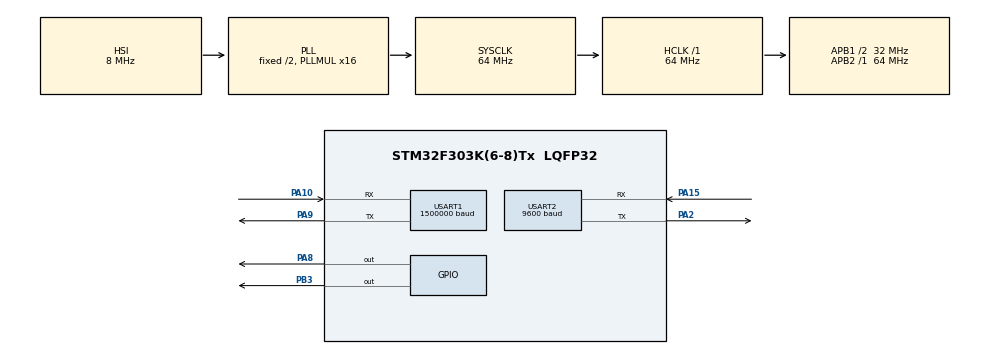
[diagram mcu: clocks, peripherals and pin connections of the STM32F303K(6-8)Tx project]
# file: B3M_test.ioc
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Mcu.Family=STM32F3
Mcu.Name=STM32F303K(6-8)Tx
Mcu.Package=LQFP32
NVIC.PriorityGroup=NVIC_PRIORITYGROUP_4
PA10.Mode=Asynchronous
PA10.Signal=USART1_RX
PA13.Mode=Serial_Wire
PA13.Signal=SYS_JTMS-SWDIO
PA14.Mode=Serial_Wire
PA14.Signal=SYS_JTCK-SWCLK
PA15.Mode=Asynchronous
PA15.Signal=USART2_RX
PA2.Mode=Asynchronous
PA2.Signal=USART2_TX
PA8.Signal=GPIO_Output
PA9.Mode=Asynchronous
PA9.Signal=USART1_TX
PB3.Signal=GPIO_Output
PF0\ /\ OSC_IN.Mode=HSE-External-Clock-Source
PF0\ /\ OSC_IN.Signal=RCC_OSC_IN
ProjectManager.HeapSize=0x200
ProjectManager.StackSize=0x400
ProjectManager.TargetToolchain=STM32CubeIDE
RCC.AHBFreq_Value=64000000
RCC.APB1CLKDivider=RCC_HCLK_DIV2
RCC.APB1Freq_Value=32000000
RCC.APB1TimFreq_Value=64000000
RCC.APB2Freq_Value=64000000
RCC.APB2TimFreq_Value=64000000
RCC.CortexFreq_Value=64000000
RCC.HCLKFreq_Value=64000000
RCC.HSE_VALUE=8000000
RCC.HSI_VALUE=8000000
RCC.PLLMUL=RCC_PLL_MUL16
RCC.SYSCLKFreq_VALUE=64000000
RCC.SYSCLKSourceVirtual=RCC_SYSCLKSOURCE_PLLCLK
USART1.BaudRate=1500000
USART1.VirtualMode-Asynchronous=VM_ASYNC
USART2.BaudRate=9600
USART2.VirtualMode-Asynchronous=VM_ASYNC
board=custom

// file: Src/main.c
/* USER CODE BEGIN Header */
/**
  ******************************************************************************
  * @file           : main.c
  * @brief          : Main program body
  ******************************************************************************
  * @attention
  *
  * <h2><center>&copy; Copyright (c) 2020 STMicroelectronics.
  * All rights reserved.</center></h2>
  *
  * This software component is licensed by ST under BSD 3-Clause license,
  * the "License"; You may not use this file except in compliance with the
  * License. You may obtain a copy of the License at:
  *                        opensource.org/licenses/BSD-3-Clause
  *
  ******************************************************************************
  */
/* USER CODE END Header */

#include "main.h"

UART_HandleTypeDef huart1;
UART_HandleTypeDef huart2;

void SystemClock_Config(void);
static void MX_GPIO_Init(void);
static void MX_USART1_UART_Init(void);
static void MX_USART2_UART_Init(void);

int main(void)
{

  /* MCU Configuration--------------------------------------------------------*/

  /* Reset of all peripherals, Initializes the Flash interface and the Systick. */
  HAL_Init();

  /* Configure the system clock */
  SystemClock_Config();

  /* Initialize all configured peripherals */
  MX_GPIO_Init();
  MX_USART1_UART_Init();
  MX_USART2_UART_Init();
  /* USER CODE BEGIN 2 */

  uint8_t txdata[9] = {0};

    void pos(unsigned char id,short deg,unsigned short time)
  {
      unsigned char deg_l = (unsigned char)(deg)&0x00FF;
      unsigned char deg_h = (unsigned char)(deg>>8)&0x00FF;
      unsigned char time_l = (unsigned char)(time)&0x00FF;
      unsigned char time_h = (unsigned char)(time>>8)&0x00FF;
      unsigned char sum = (0x09+0x06+id+deg_l+deg_h+time_l+time_h)&0x00FF;

      HAL_GPIO_WritePin(GPIOA, GPIO_PIN_8, 1);

      txdata[0]=0x09;   //1 SIZE
      txdata[1]=0x06;   //2 COMMAND
      txdata[2]=0x00;   //3 OPTION
      txdata[3]=id;     //4 ID
      txdata[4]=deg_l;  //5 POS_L
      txdata[5]=deg_h;  //6 POS_H
      txdata[6]=time_l; //7 TIME_L
      txdata[7]=time_h; //8 TIME_H
      txdata[8]=sum;    //9 SUM

  	  HAL_UART_Transmit(&huart1, txdata, 9, 0xFFFF);
      HAL_Delay(0.03);
      HAL_GPIO_WritePin(GPIOA, GPIO_PIN_8, 0);
  }
    void speed(unsigned char id,short speed)
    {
        unsigned char speed_l = (unsigned char)(speed)&0x00FF;
        unsigned char speed_h = (unsigned char)(speed>>8)&0x00FF;
        unsigned char sum = (0x09+0x04+0x00+id+speed_l+speed_h+0x30+0x01)&0x00FF;

        HAL_GPIO_WritePin(GPIOA, GPIO_PIN_8, 1);

        txdata[0]=0x09;//SIZE
        txdata[1]=0x04;//COMMAND
        txdata[2]=0x00;//OPTION
        txdata[3]=id;//ID
        txdata[4]=speed_l;//SPEED_LOWBYTE
        txdata[5]=speed_h;//SPEED_HIGHBYTE
        txdata[6]=0x30;//ADRESS(SPEED 0x03)
        txdata[7]=0x01;//COUNT
        txdata[8]=sum;//SUM
    	HAL_UART_Transmit(&huart1, txdata, 9, 0xFFFF);
        HAL_Delay(0.03);
        HAL_GPIO_WritePin(GPIOA, GPIO_PIN_8, 0);
    }

    void write(unsigned char id,unsigned char data,unsigned char adress)
    {
        unsigned char sum = (0x08+0x04+0x00+id+data+adress+0x01)&0x00FF;
       HAL_GPIO_WritePin(GPIOA, GPIO_PIN_8, 1);
       txdata[0]=0x08;   //1 SIZE
       txdata[1]=0x04;   //2 COMMAND
       txdata[2]=0x00;   //3 OPTION
       txdata[3]=id;     //4 ID
       txdata[4]=data;  //DATA
       txdata[5]=adress;  //ADRESS
       txdata[6]=0x01; //COUNT
       txdata[7]=sum;    //9 SUM
       HAL_UART_Transmit(&huart1, txdata, 8, 0xFFFF);
       HAL_Delay(0.03);
       HAL_GPIO_WritePin(GPIOA, GPIO_PIN_8, 0);

    }

	  write(0xFF,0x00,0x28);
	  write(0xFF,0x01,0x29);

  /* USER CODE END 2 */

  /* Infinite loop */
  while (1)
  {

    /* USER CODE BEGIN 3 */

	  	  write(0xFF,0x00,0x28);
	  	  HAL_GPIO_WritePin(GPIOB, GPIO_PIN_3, 1);
	  	  HAL_Delay(1000);
	  	  write(0xFF,0x01,0x29);
	  	  HAL_GPIO_WritePin(GPIOB, GPIO_PIN_3, 0);
	  	  HAL_Delay(1000);

	  	//pos test
	  	  HAL_GPIO_WritePin(GPIOB, GPIO_PIN_3, 1);
	  	  pos(0xFF,6000,1000);
	  	  HAL_Delay(1000);

	  	  HAL_GPIO_WritePin(GPIOB, GPIO_PIN_3, 0);
	  	  pos(0xFF,0,1000);
	  	  HAL_Delay(1000);

	  	//speed test
	  	  write(0xFF,0x04,0x28);
	  	  speed(0xFF,15000);
	  	  HAL_Delay(10000);

  }
  /* USER CODE END 3 */
}

void SystemClock_Config(void)
{
  RCC_OscInitTypeDef RCC_OscInitStruct = {0};
  RCC_ClkInitTypeDef RCC_ClkInitStruct = {0};
  RCC_PeriphCLKInitTypeDef PeriphClkInit = {0};

  /** Initializes the CPU, AHB and APB busses clocks
  */
  RCC_OscInitStruct.OscillatorType = RCC_OSCILLATORTYPE_HSI;
  RCC_OscInitStruct.HSIState = RCC_HSI_ON;
  RCC_OscInitStruct.HSICalibrationValue = RCC_HSICALIBRATION_DEFAULT;
  RCC_OscInitStruct.PLL.PLLState = RCC_PLL_ON;
  RCC_OscInitStruct.PLL.PLLSource = RCC_PLLSOURCE_HSI;
  RCC_OscInitStruct.PLL.PLLMUL = RCC_PLL_MUL16;
  if (HAL_RCC_OscConfig(&RCC_OscInitStruct) != HAL_OK)
  {
    Error_Handler();
  }
  /** Initializes the CPU, AHB and APB busses clocks
  */
  RCC_ClkInitStruct.ClockType = RCC_CLOCKTYPE_HCLK|RCC_CLOCKTYPE_SYSCLK
                              |RCC_CLOCKTYPE_PCLK1|RCC_CLOCKTYPE_PCLK2;
  RCC_ClkInitStruct.SYSCLKSource = RCC_SYSCLKSOURCE_PLLCLK;
  RCC_ClkInitStruct.AHBCLKDivider = RCC_SYSCLK_DIV1;
  RCC_ClkInitStruct.APB1CLKDivider = RCC_HCLK_DIV2;
  RCC_ClkInitStruct.APB2CLKDivider = RCC_HCLK_DIV1;

  if (HAL_RCC_ClockConfig(&RCC_ClkInitStruct, FLASH_LATENCY_2) != HAL_OK)
  {
    Error_Handler();
  }
  PeriphClkInit.PeriphClockSelection = RCC_PERIPHCLK_USART1;
  PeriphClkInit.Usart1ClockSelection = RCC_USART1CLKSOURCE_PCLK1;
  if (HAL_RCCEx_PeriphCLKConfig(&PeriphClkInit) != HAL_OK)
  {
    Error_Handler();
  }
}

static void MX_USART1_UART_Init(void)
{

  huart1.Instance = USART1;
  huart1.Init.BaudRate = 1500000;
  huart1.Init.WordLength = UART_WORDLENGTH_8B;
  huart1.Init.StopBits = UART_STOPBITS_1;
  huart1.Init.Parity = UART_PARITY_NONE;
  huart1.Init.Mode = UART_MODE_TX_RX;
  huart1.Init.HwFlowCtl = UART_HWCONTROL_NONE;
  huart1.Init.OverSampling = UART_OVERSAMPLING_16;
  huart1.Init.OneBitSampling = UART_ONE_BIT_SAMPLE_DISABLE;
  huart1.AdvancedInit.AdvFeatureInit = UART_ADVFEATURE_NO_INIT;
  if (HAL_UART_Init(&huart1) != HAL_OK)
  {
    Error_Handler();
  }

}

static void MX_USART2_UART_Init(void)
{

  huart2.Instance = USART2;
  huart2.Init.BaudRate = 9600;
  huart2.Init.WordLength = UART_WORDLENGTH_8B;
  huart2.Init.StopBits = UART_STOPBITS_1;
  huart2.Init.Parity = UART_PARITY_NONE;
  huart2.Init.Mode = UART_MODE_TX_RX;
  huart2.Init.HwFlowCtl = UART_HWCONTROL_NONE;
  huart2.Init.OverSampling = UART_OVERSAMPLING_16;
  huart2.Init.OneBitSampling = UART_ONE_BIT_SAMPLE_DISABLE;
  huart2.AdvancedInit.AdvFeatureInit = UART_ADVFEATURE_NO_INIT;
  if (HAL_UART_Init(&huart2) != HAL_OK)
  {
    Error_Handler();
  }

}

static void MX_GPIO_Init(void)
{
  GPIO_InitTypeDef GPIO_InitStruct = {0};

  /* GPIO Ports Clock Enable */
  __HAL_RCC_GPIOF_CLK_ENABLE();
  __HAL_RCC_GPIOA_CLK_ENABLE();
  __HAL_RCC_GPIOB_CLK_ENABLE();

  /*Configure GPIO pin Output Level */
  HAL_GPIO_WritePin(GPIOA, GPIO_PIN_8, GPIO_PIN_RESET);

  /*Configure GPIO pin Output Level */
  HAL_GPIO_WritePin(GPIOB, GPIO_PIN_3, GPIO_PIN_RESET);

  /*Configure GPIO pin : PA8 */
  GPIO_InitStruct.Pin = GPIO_PIN_8;
  GPIO_InitStruct.Mode = GPIO_MODE_OUTPUT_PP;
  GPIO_InitStruct.Pull = GPIO_NOPULL;
  GPIO_InitStruct.Speed = GPIO_SPEED_FREQ_LOW;
  HAL_GPIO_Init(GPIOA, &GPIO_InitStruct);

  /*Configure GPIO pin : PB3 */
  GPIO_InitStruct.Pin = GPIO_PIN_3;
  GPIO_InitStruct.Mode = GPIO_MODE_OUTPUT_PP;
  GPIO_InitStruct.Pull = GPIO_NOPULL;
  GPIO_InitStruct.Speed = GPIO_SPEED_FREQ_LOW;
  HAL_GPIO_Init(GPIOB, &GPIO_InitStruct);

}

void Error_Handler(void)
{
}

/************************ (C) COPYRIGHT STMicroelectronics *****END OF FILE****/
